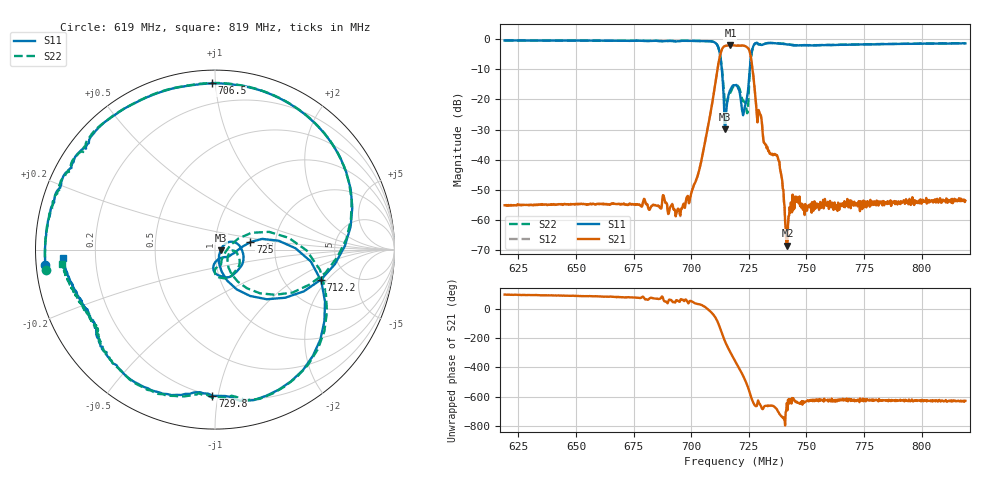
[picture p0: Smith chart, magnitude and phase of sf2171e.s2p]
# Hz S RI R 50
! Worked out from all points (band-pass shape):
!   801 points, 619 MHz to 819 MHz, reference 50 ohm
!   highest |S21| = -2.03 dB at 717 MHz (marker M1); lowest = -68.5 dB at 741.8 MHz (marker M2)
!   |S21| within 3 dB of the highest: 712.6 MHz to 725.7 MHz (13.02 MHz wide, 1.81 % of centre)
!   lowest |S11| = -30.0 dB at 714.8 MHz (marker M3), VSWR 1.07, Z = 53.3 - j0.377 ohm
!   |S11| at or under -10 dB: 713.3 MHz to 725.4 MHz (12.11 MHz wide, 1.68 % of centre)
!   |S22| runs from -24.6 to -0.4 dB; largest |S21 - S12| = 0.00073
!   S11 on the Smith chart (normalised r, x): 619 MHz: 0.03, -0.04; 706.5 MHz: 0.07, +0.98; 712.2 MHz: 3.18, -1.71; 725 MHz: 1.48, +0.13; 729.8 MHz: 0.20, -0.96; 819 MHz: 0.08, -0.03
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6.19e8  -0.9451 -0.0831  -0.000147 0.00176  -0.00014 0.00174  -0.943 -0.112
6.525e8  -0.9402 0.0943  0.00018 0.00185  0.00019 0.00185  -0.9439 0.0647
6.8575e8  -0.8236 0.4355  0.00075 0.00156  0.000731 0.00157  -0.8375 0.4075
6.9625e8  -0.6762 0.6469  0.000807 0.00142  0.000832 0.00141  -0.6986 0.6259
7.065e8  -0.0195 0.926  0.0248 0.0019  0.0248 0.00191  -0.0451 0.9269
7.095e8  0.508 0.7485  0.0828 -0.0682  0.0827 -0.0682  0.487 0.7657
7.1225e8  0.5905 -0.1674  -0.2474 -0.4161  -0.2472 -0.4158  0.6156 -0.1291
7.1475e8  0.0316 -0.00353  -0.5376 0.5528  -0.5377 0.5529  0.0697 -0.0451
7.17e8  0.1454 0.00784  0.3704 0.6993  0.3703 0.6989  0.1263 -0.03
7.19e8  0.1216 -0.1219  0.7821 0.0675  0.7817 0.0679  0.1076 -0.1267
7.2225e8  0.011 -0.0599  0.0223 -0.7826  0.0222 -0.7825  0.00972 -0.0992
7.24e8  0.0926 -0.0269  -0.636 -0.3846  -0.6359 -0.3847  0.037 -0.0574
7.25e8  0.1972 0.0421  -0.6673 0.1291  -0.6668 0.129  0.13 0.0614
7.27e8  0.5873 -0.5005  0.0446 0.2335  0.0445 0.2334  0.6093 -0.4548
7.2975e8  -0.0142 -0.8147  0.0176 0.0556  0.0176 0.0556  0.0159 -0.8219
7.325e8  -0.2663 -0.8048  0.009 0.0153  0.00897 0.0154  -0.2452 -0.8149
7.38e8  -0.5844 -0.6106  0.00927 0.00238  0.00928 0.00238  -0.5726 -0.6272
7.4175e8  -0.6487 -0.4891  0.000329 0.000185  0.000325 0.000177  -0.6368 -0.5125
7.45e8  -0.6655 -0.4286  -0.000154 0.00244  -0.00013 0.0024  -0.6537 -0.442
7.525e8  -0.7083 -0.3444  -0.000396 0.00195  -0.000399 0.00198  -0.7023 -0.3685
7.8575e8  -0.8114 -0.1627  -0.000354 0.00183  -0.00034 0.00183  -0.8092 -0.1918
8.19e8  -0.8482 -0.0473  -0.000136 0.0021  -0.000167 0.00218  -0.8508 -0.0795
